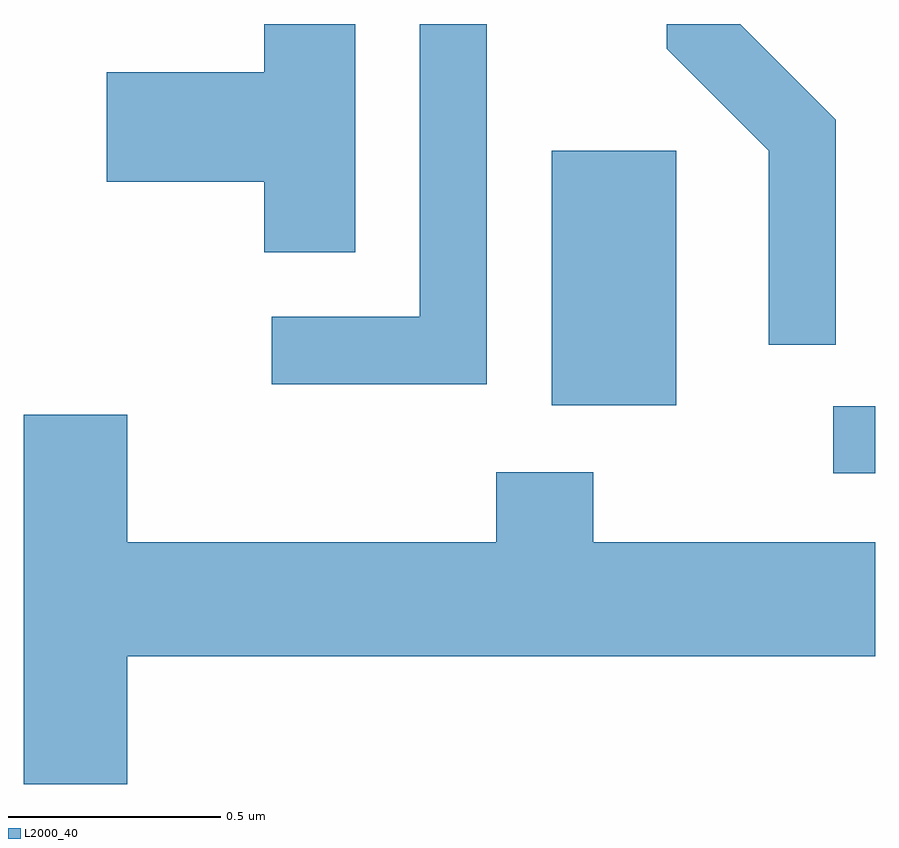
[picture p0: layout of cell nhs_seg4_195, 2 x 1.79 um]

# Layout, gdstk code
import gdstk
lib = gdstk.Library(unit=1e-6, precision=1e-09)
def R(c, l, rs):  # rectangles x0, y0, x1, y1
    for r in rs: c.add(gdstk.rectangle(r[:2], r[2:], *l))
def P(c, l, *ps):  # polygons
    for p in ps: c.add(gdstk.Polygon(p, *l))
L2000_40 = (2000, 40)

nhs_seg4_195 = lib.new_cell('nhs_seg4_195')
R(nhs_seg4_195, L2000_40, [(188.513,1312.926,188.611,1313.084), (187.851,1313.086,188.144,1313.684)])
P(nhs_seg4_195, L2000_40, [(187.699,1313.982),(187.541,1313.982),(187.541,1313.294),(187.193,1313.294),(187.193,1313.136),(187.699,1313.136)],
  [(188.519,1313.757),(188.294,1313.982),(188.121,1313.982),(188.121,1313.924),(188.361,1313.684),(188.361,1313.228),(188.519,1313.228)],
  [(187.389,1313.982),(187.176,1313.982),(187.176,1313.869),(186.806,1313.869),(186.806,1313.611),(187.176,1313.611),(187.176,1313.446),(187.389,1313.446)],
  [(186.854,1312.496),(188.611,1312.496),(188.611,1312.764),(187.949,1312.764),(187.949,1312.929),(187.721,1312.929),(187.721,1312.764),(186.854,1312.764),(186.854,1313.064),(186.611,1313.064),(186.611,1312.196),(186.854,1312.196)])

lib.write_gds('nhs_seg4_195.gds')
